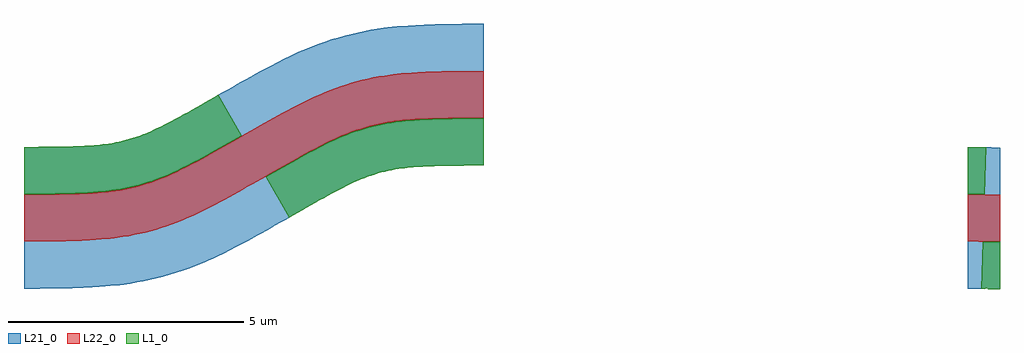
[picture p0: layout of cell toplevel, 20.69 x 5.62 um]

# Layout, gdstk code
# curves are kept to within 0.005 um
import gdstk
lib = gdstk.Library(unit=1e-6, precision=1e-09)
def P(c, l, *ps):  # polygons
    for p in ps: c.add(gdstk.Polygon(p, *l))
L1_0 = (1, 0)
L21_0 = (21, 0)
L22_0 = (22, 0)

wg_sbend = lib.new_cell('WG Sbend')
P(wg_sbend, L1_0, [(3.388,2.191),(2.995,1.982),(2.643,1.814),(2.314,1.692),(2.168,1.649),(1.945,1.597),(1.673,1.554),(1.285,1.523),(0.635,1.504),(0,1.5),(0,0.5),(0.648,0.504),(1.18,0.517),(1.563,0.539),(1.946,0.583),(2.331,0.659),(2.615,0.738),(2.984,0.873),(3.338,1.035),(3.963,1.365),(4.62,1.738),(4.12,2.604)],
  [(6.351,0.419),(6.843,0.678),(7.138,0.813),(7.498,0.94),(7.795,1.012),(8.119,1.061),(8.455,1.086),(9.002,1.104),(9.739,1.11),(9.739,2.11),(8.985,2.104),(8.559,2.092),(8.089,2.063),(7.793,2.027),(7.408,1.95),(7.031,1.841),(6.755,1.737),(6.401,1.575),(5.87,1.296),(5.12,0.872),(5.62,0.006)])
P(wg_sbend, L21_0, [(3.388,2.191),(2.995,1.982),(2.643,1.814),(2.314,1.692),(2.168,1.649),(1.945,1.597),(1.673,1.554),(1.285,1.523),(0.635,1.504),(0,1.5),(0,-1.5),(1.021,-1.489),(1.442,-1.473),(1.833,-1.445),(2.11,-1.414),(2.39,-1.371),(2.669,-1.316),(2.944,-1.248),(3.216,-1.169),(3.485,-1.078),(3.749,-0.975),(4.005,-0.863),(4.357,-0.691),(4.73,-0.495),(5.62,0.006),(4.12,2.604)],
  [(6.351,0.419),(6.843,0.678),(7.138,0.813),(7.498,0.94),(7.795,1.012),(8.119,1.061),(8.455,1.086),(9.002,1.104),(9.739,1.11),(9.739,4.11),(8.6,4.095),(7.906,4.055),(7.629,4.024),(7.349,3.981),(7.071,3.925),(6.795,3.858),(6.523,3.779),(6.254,3.687),(5.99,3.585),(5.632,3.425),(5.009,3.105),(4.12,2.604),(5.62,0.006)])
P(wg_sbend, L22_0, [(3.869,1.314),(3.338,1.035),(2.984,0.873),(2.615,0.738),(2.236,0.637),(1.791,0.561),(1.461,0.532),(0.969,0.51),(0,0.5),(0,-0.5),(0.661,-0.496),(1.219,-0.482),(1.642,-0.458),(2.098,-0.406),(2.452,-0.339),(2.801,-0.25),(3.03,-0.178),(3.255,-0.096),(3.586,0.045),(3.903,0.2),(4.253,0.384),(5.12,0.872),(4.62,1.738)],
  [(5.87,1.296),(6.401,1.575),(6.755,1.737),(7.124,1.871),(7.504,1.973),(7.89,2.041),(8.278,2.078),(8.878,2.102),(9.739,2.11),(9.739,3.11),(8.967,3.104),(8.35,3.084),(7.91,3.05),(7.522,2.996),(7.17,2.922),(6.824,2.825),(6.596,2.748),(6.373,2.661),(6.063,2.522),(5.487,2.226),(4.62,1.738),(5.12,0.872)])

wg_sbend002 = lib.new_cell('WG Sbend002')
P(wg_sbend002, L1_0, [(20.311,1.496),(20,1.5),(20,0.5),(20.36,0.494),(20.395,1.493)],
  [(20.374,-1.508),(20.686,-1.512),(20.686,-0.512),(20.325,-0.506),(20.29,-1.505)])
P(wg_sbend002, L21_0, [(20.311,1.496),(20,1.5),(20,-1.5),(20.29,-1.505),(20.395,1.493)],
  [(20.374,-1.508),(20.686,-1.512),(20.686,1.488),(20.395,1.493),(20.29,-1.505)])
P(wg_sbend002, L22_0, [(20.279,0.496),(20,0.5),(20,-0.5),(20.325,-0.506),(20.36,0.494)],
  [(20.407,-0.508),(20.686,-0.512),(20.686,0.488),(20.36,0.494),(20.325,-0.506)])

toplevel = lib.new_cell('toplevel')
toplevel.add(gdstk.Reference(wg_sbend, (0,0)))
toplevel.add(gdstk.Reference(wg_sbend002, (0,0)))

lib.write_gds('toplevel.gds')
